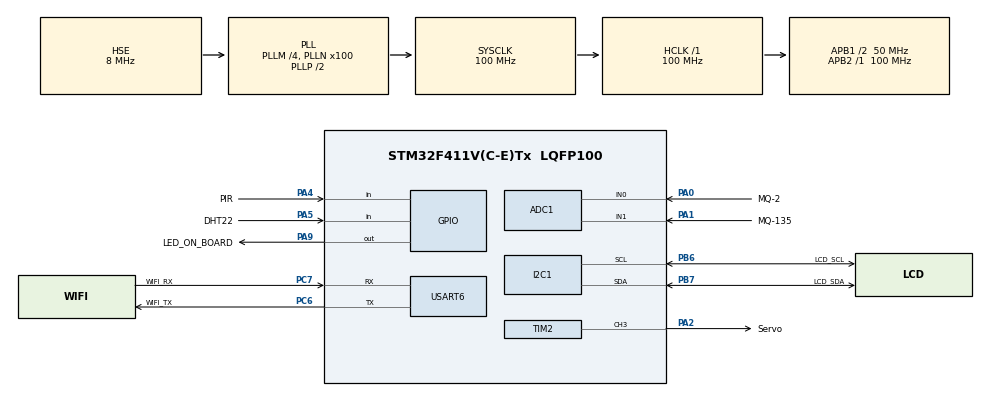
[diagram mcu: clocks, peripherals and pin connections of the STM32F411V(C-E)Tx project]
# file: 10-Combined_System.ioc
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ADC1.Channel-0\#ChannelRegularConversion=ADC_CHANNEL_0
ADC1.Channel-1\#ChannelRegularConversion=ADC_CHANNEL_1
ADC1.ContinuousConvMode=ENABLE
ADC1.DMAContinuousRequests=ENABLE
ADC1.NbrOfConversion=2
ADC1.NbrOfConversionFlag=1
ADC1.Rank-0\#ChannelRegularConversion=1
ADC1.Rank-1\#ChannelRegularConversion=2
ADC1.SamplingTime-0\#ChannelRegularConversion=ADC_SAMPLETIME_84CYCLES
ADC1.SamplingTime-1\#ChannelRegularConversion=ADC_SAMPLETIME_84CYCLES
ADC1.ScanConvMode=ENABLE
ADC1.master=1
Dma.ADC1.0.Direction=DMA_PERIPH_TO_MEMORY
Dma.ADC1.0.FIFOMode=DMA_FIFOMODE_DISABLE
Dma.ADC1.0.Instance=DMA2_Stream0
Dma.ADC1.0.MemDataAlignment=DMA_MDATAALIGN_HALFWORD
Dma.ADC1.0.MemInc=DMA_MINC_ENABLE
Dma.ADC1.0.Mode=DMA_CIRCULAR
Dma.ADC1.0.PeriphDataAlignment=DMA_PDATAALIGN_HALFWORD
Dma.ADC1.0.PeriphInc=DMA_PINC_DISABLE
Dma.ADC1.0.Priority=DMA_PRIORITY_LOW
Dma.Request0=ADC1
Mcu.Family=STM32F4
Mcu.Name=STM32F411V(C-E)Tx
Mcu.Package=LQFP100
NVIC.DMA2_Stream0_IRQn=true\:0\:0\:false\:false\:true\:false\:true\:true
NVIC.PriorityGroup=NVIC_PRIORITYGROUP_4
NVIC.TIM4_IRQn=true\:0\:0\:false\:false\:true\:true\:true\:true
NVIC.USART6_IRQn=true\:0\:0\:false\:false\:true\:true\:true\:true
PA0-WKUP.GPIO_Label=MQ-2
PA0-WKUP.Signal=ADCx_IN0
PA1.GPIO_Label=MQ-135
PA1.Signal=ADCx_IN1
PA13.Mode=Serial_Wire
PA13.Signal=SYS_JTMS-SWDIO
PA14.Mode=Serial_Wire
PA14.Signal=SYS_JTCK-SWCLK
PA2.GPIO_Label=Servo
PA2.Signal=S_TIM2_CH3
PA4.GPIO_Label=PIR
PA4.Signal=GPIO_Input
PA5.GPIO_Label=DHT22
PA5.Signal=GPIO_Input
PA9.GPIO_Label=LED_ON_BOARD
PA9.Signal=GPIO_Output
PB6.GPIO_Label=LCD_SCL
PB6.Mode=I2C
PB6.Signal=I2C1_SCL
PB7.GPIO_Label=LCD_SDA
PB7.Mode=I2C
PB7.Signal=I2C1_SDA
PC6.GPIO_Label=WIFI_TX
PC6.Mode=Asynchronous
PC6.Signal=USART6_TX
PC7.GPIO_Label=WIFI_RX
PC7.Mode=Asynchronous
PC7.Signal=USART6_RX
PH0\ -\ OSC_IN.Mode=HSE-External-Oscillator
PH0\ -\ OSC_IN.Signal=RCC_OSC_IN
PH1\ -\ OSC_OUT.Mode=HSE-External-Oscillator
PH1\ -\ OSC_OUT.Signal=RCC_OSC_OUT
ProjectManager.HeapSize=0x200
ProjectManager.StackSize=0x400
ProjectManager.TargetToolchain=STM32CubeIDE
RCC.48MHZClocksFreq_Value=50000000
RCC.AHBFreq_Value=100000000
RCC.APB1CLKDivider=RCC_HCLK_DIV2
RCC.APB1Freq_Value=50000000
RCC.APB1TimFreq_Value=100000000
RCC.APB2Freq_Value=100000000
RCC.APB2TimFreq_Value=100000000
RCC.CortexFreq_Value=100000000
RCC.HCLKFreq_Value=100000000
RCC.HSE_VALUE=8000000
RCC.HSI_VALUE=16000000
RCC.LSE_VALUE=32768
RCC.PLLM=4
RCC.PLLN=100
RCC.PLLSourceVirtual=RCC_PLLSOURCE_HSE
RCC.SYSCLKFreq_VALUE=100000000
RCC.SYSCLKSource=RCC_SYSCLKSOURCE_PLLCLK
RCC.VCOOutputFreq_Value=200000000
SH.ADCx_IN0.0=ADC1_IN0,IN0
SH.ADCx_IN1.0=ADC1_IN1,IN1
SH.S_TIM2_CH3.0=TIM2_CH3,PWM Generation3 CH3
TIM2.AutoReloadPreload=TIM_AUTORELOAD_PRELOAD_ENABLE
TIM2.Channel-PWM\ Generation3\ CH3=TIM_CHANNEL_3
TIM2.Period=19999
TIM2.Prescaler=99
TIM4.Period=999
TIM4.Prescaler=99
USART6.VirtualMode=VM_ASYNC
VP_TIM4_VS_ClockSourceINT.Mode=Internal
board=custom

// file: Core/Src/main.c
/* USER CODE BEGIN Header */
/**
  ******************************************************************************
  * @file           : main.c
  * @brief          : Main program body
  ******************************************************************************
  * @attention
  *
  * Copyright (c) 2025 STMicroelectronics.
  * All rights reserved.
  *
  * This software is licensed under terms that can be found in the LICENSE file
  * in the root directory of this software component.
  * If no LICENSE file comes with this software, it is provided AS-IS.
  *
  ******************************************************************************
  */
/* USER CODE END Header */
#include "main.h"

/* USER CODE BEGIN Includes */
#include "i2c_lcd.h"
#include "dhtxx.h"
#include "dwt.h"
#include <stdio.h>
#include <string.h>
/* USER CODE END Includes */

/* USER CODE BEGIN PD */
#define WIFI_SSID       "Herukyatto"
#define WIFI_PASSWORD   "1234567890"
#define LOCAL_API_IP    "192.168.137.1"
#define LOCAL_API_PORT  5000
/* USER CODE END PD */

ADC_HandleTypeDef hadc1;
DMA_HandleTypeDef hdma_adc1;

I2C_HandleTypeDef hi2c1;

TIM_HandleTypeDef htim2;
TIM_HandleTypeDef htim4;

UART_HandleTypeDef huart6;

/* USER CODE BEGIN PV */
I2C_LCD_HandleTypeDef lcd;
DHTxx_Drv_t dht22;
float temperature, humidity;
uint8_t uart_rx_byte;
char response_buffer[256];
uint8_t response_index = 0;
volatile uint8_t data_received_flag = 0;
volatile uint32_t ms_ticks = 0;
/* USER CODE END PV */

void SystemClock_Config(void);
static void MX_GPIO_Init(void);
static void MX_DMA_Init(void);
static void MX_ADC1_Init(void);
static void MX_I2C1_Init(void);
static void MX_TIM2_Init(void);
static void MX_TIM4_Init(void);
static void MX_USART6_UART_Init(void);

/* USER CODE BEGIN 0 */
void LCD_Init_Custom()
{
  lcd.hi2c = &hi2c1;
  lcd.address = 0x4E;
  lcd_init(&lcd);
}

int send_at_command(const char* command, const char* expected_response, uint32_t timeout)
{
    memset(response_buffer, 0, sizeof(response_buffer));
    response_index = 0;
    HAL_UART_Transmit(&huart6, (uint8_t*)command, strlen(command), 1000);

    uint32_t start_time = HAL_GetTick();
    while (HAL_GetTick() - start_time < timeout)
    {
        if (strstr(response_buffer, expected_response) != NULL)
        {
            return 1;
        }
    }
    return 0;
}
/* USER CODE END 0 */

int main(void)
{

  /* MCU Configuration--------------------------------------------------------*/

  /* Reset of all peripherals, Initializes the Flash interface and the Systick. */
  HAL_Init();

  /* Configure the system clock */
  SystemClock_Config();

  /* Initialize all configured peripherals */
  MX_GPIO_Init();
  MX_DMA_Init();
  MX_ADC1_Init();
  MX_I2C1_Init();
  MX_TIM2_Init();
  MX_TIM4_Init();
  MX_USART6_UART_Init();
  /* USER CODE BEGIN 2 */
  // Khởi tạo module
    LCD_Init_Custom();
    DwtInit();
    dht22.DataPort = DHT22_GPIO_Port;
    dht22.DataPin = DHT22_Pin;
    dht22.Type = DHT22;
    HAL_UART_Receive_IT(&huart6, &uart_rx_byte, 1);

    // --- KẾT NỐI WI-FI ---
    lcd_puts(&lcd, "Connecting WiFi...");
    send_at_command("AT+RST\r\n", "ready", 5000);
    HAL_Delay(2000);
    send_at_command("ATE0\r\n", "OK", 1000);
    HAL_Delay(500);
    send_at_command("AT+WMODE=1,1\r\n", "OK", 3000);
    HAL_Delay(500);

    char connect_command[100];
    sprintf(connect_command, "AT+WJAP=\"%s\",\"%s\"\r\n", WIFI_SSID, WIFI_PASSWORD);

    if (!send_at_command(connect_command, "+EVENT:WIFI_GOT_IP", 15000))
    {
      lcd_clear(&lcd);
      lcd_puts(&lcd, "WiFi Failed!");
      while(1);
    }

    lcd_clear(&lcd);
    lcd_puts(&lcd, "WiFi Connected!");
    HAL_Delay(2000);
  /* USER CODE END 2 */

  /* Infinite loop */
  /* USER CODE BEGIN WHILE */
    while (1)
      {
        // 1. Đọc cảm biến
        DHT_GetData(&dht22);
        temperature = dht22.Temperature;
        humidity = dht22.Humidity;

        // Hiển thị lên LCD
        lcd_clear(&lcd);
        char line1_str[20], line2_str[20];
        sprintf(line1_str, "Temp: %.1f C", temperature);
        sprintf(line2_str, "Humi: %.1f %%", humidity);
        lcd_puts(&lcd, line1_str);
        lcd_gotoxy(&lcd, 0, 1);
        lcd_puts(&lcd, line2_str);

        // 2. Chuẩn bị và gửi API
        char json_payload[100];
        // Tạo chuỗi JSON, ký tự \ dùng để escape dấu " trong chuỗi C
        sprintf(json_payload, "{\\\"temperature\\\":%.1f,\\\"humidity\\\":%.1f}", temperature, humidity);

        char http_command[300]; // Tăng kích thước buffer một chút
        // Thêm cặp dấu ngoặc kép "" bao quanh tham số data cuối cùng
        sprintf(http_command, "AT+HTTPCLIENTLINE=1,3,\"application/json\",\"%s\",%d,\"/api/data\",\"%s\"\r\n",
                LOCAL_API_IP, LOCAL_API_PORT, json_payload);

        // 3. Gửi dữ liệu và hiển thị trạng thái
        lcd_gotoxy(&lcd, 12, 1);
        lcd_puts(&lcd, "->");
        if(send_at_command(http_command, "OK", 10000)) {
            lcd_puts(&lcd, "OK");
        } else {
            lcd_puts(&lcd, "FAIL");
        }

        HAL_Delay(10000);
      }  /* USER CODE END 3 */
}

void SystemClock_Config(void)
{
  RCC_OscInitTypeDef RCC_OscInitStruct = {0};
  RCC_ClkInitTypeDef RCC_ClkInitStruct = {0};

  /** Configure the main internal regulator output voltage
  */
  __HAL_RCC_PWR_CLK_ENABLE();
  __HAL_PWR_VOLTAGESCALING_CONFIG(PWR_REGULATOR_VOLTAGE_SCALE1);

  /** Initializes the RCC Oscillators according to the specified parameters
  * in the RCC_OscInitTypeDef structure.
  */
  RCC_OscInitStruct.OscillatorType = RCC_OSCILLATORTYPE_HSE;
  RCC_OscInitStruct.HSEState = RCC_HSE_ON;
  RCC_OscInitStruct.PLL.PLLState = RCC_PLL_ON;
  RCC_OscInitStruct.PLL.PLLSource = RCC_PLLSOURCE_HSE;
  RCC_OscInitStruct.PLL.PLLM = 4;
  RCC_OscInitStruct.PLL.PLLN = 100;
  RCC_OscInitStruct.PLL.PLLP = RCC_PLLP_DIV2;
  RCC_OscInitStruct.PLL.PLLQ = 4;
  if (HAL_RCC_OscConfig(&RCC_OscInitStruct) != HAL_OK)
  {
    Error_Handler();
  }

  /** Initializes the CPU, AHB and APB buses clocks
  */
  RCC_ClkInitStruct.ClockType = RCC_CLOCKTYPE_HCLK|RCC_CLOCKTYPE_SYSCLK
                              |RCC_CLOCKTYPE_PCLK1|RCC_CLOCKTYPE_PCLK2;
  RCC_ClkInitStruct.SYSCLKSource = RCC_SYSCLKSOURCE_PLLCLK;
  RCC_ClkInitStruct.AHBCLKDivider = RCC_SYSCLK_DIV1;
  RCC_ClkInitStruct.APB1CLKDivider = RCC_HCLK_DIV2;
  RCC_ClkInitStruct.APB2CLKDivider = RCC_HCLK_DIV1;

  if (HAL_RCC_ClockConfig(&RCC_ClkInitStruct, FLASH_LATENCY_3) != HAL_OK)
  {
    Error_Handler();
  }
}

static void MX_ADC1_Init(void)
{

  ADC_ChannelConfTypeDef sConfig = {0};

  /** Configure the global features of the ADC (Clock, Resolution, Data Alignment and number of conversion)
  */
  hadc1.Instance = ADC1;
  hadc1.Init.ClockPrescaler = ADC_CLOCK_SYNC_PCLK_DIV4;
  hadc1.Init.Resolution = ADC_RESOLUTION_12B;
  hadc1.Init.ScanConvMode = ENABLE;
  hadc1.Init.ContinuousConvMode = ENABLE;
  hadc1.Init.DiscontinuousConvMode = DISABLE;
  hadc1.Init.ExternalTrigConvEdge = ADC_EXTERNALTRIGCONVEDGE_NONE;
  hadc1.Init.ExternalTrigConv = ADC_SOFTWARE_START;
  hadc1.Init.DataAlign = ADC_DATAALIGN_RIGHT;
  hadc1.Init.NbrOfConversion = 2;
  hadc1.Init.DMAContinuousRequests = ENABLE;
  hadc1.Init.EOCSelection = ADC_EOC_SINGLE_CONV;
  if (HAL_ADC_Init(&hadc1) != HAL_OK)
  {
    Error_Handler();
  }

  /** Configure for the selected ADC regular channel its corresponding rank in the sequencer and its sample time.
  */
  sConfig.Channel = ADC_CHANNEL_0;
  sConfig.Rank = 1;
  sConfig.SamplingTime = ADC_SAMPLETIME_84CYCLES;
  if (HAL_ADC_ConfigChannel(&hadc1, &sConfig) != HAL_OK)
  {
    Error_Handler();
  }

  /** Configure for the selected ADC regular channel its corresponding rank in the sequencer and its sample time.
  */
  sConfig.Channel = ADC_CHANNEL_1;
  sConfig.Rank = 2;
  if (HAL_ADC_ConfigChannel(&hadc1, &sConfig) != HAL_OK)
  {
    Error_Handler();
  }

}

static void MX_I2C1_Init(void)
{

  hi2c1.Instance = I2C1;
  hi2c1.Init.ClockSpeed = 100000;
  hi2c1.Init.DutyCycle = I2C_DUTYCYCLE_2;
  hi2c1.Init.OwnAddress1 = 0;
  hi2c1.Init.AddressingMode = I2C_ADDRESSINGMODE_7BIT;
  hi2c1.Init.DualAddressMode = I2C_DUALADDRESS_DISABLE;
  hi2c1.Init.OwnAddress2 = 0;
  hi2c1.Init.GeneralCallMode = I2C_GENERALCALL_DISABLE;
  hi2c1.Init.NoStretchMode = I2C_NOSTRETCH_DISABLE;
  if (HAL_I2C_Init(&hi2c1) != HAL_OK)
  {
    Error_Handler();
  }

}

static void MX_TIM2_Init(void)
{

  TIM_MasterConfigTypeDef sMasterConfig = {0};
  TIM_OC_InitTypeDef sConfigOC = {0};

  htim2.Instance = TIM2;
  htim2.Init.Prescaler = 99;
  htim2.Init.CounterMode = TIM_COUNTERMODE_UP;
  htim2.Init.Period = 19999;
  htim2.Init.ClockDivision = TIM_CLOCKDIVISION_DIV1;
  htim2.Init.AutoReloadPreload = TIM_AUTORELOAD_PRELOAD_ENABLE;
  if (HAL_TIM_PWM_Init(&htim2) != HAL_OK)
  {
    Error_Handler();
  }
  sMasterConfig.MasterOutputTrigger = TIM_TRGO_RESET;
  sMasterConfig.MasterSlaveMode = TIM_MASTERSLAVEMODE_DISABLE;
  if (HAL_TIMEx_MasterConfigSynchronization(&htim2, &sMasterConfig) != HAL_OK)
  {
    Error_Handler();
  }
  sConfigOC.OCMode = TIM_OCMODE_PWM1;
  sConfigOC.Pulse = 0;
  sConfigOC.OCPolarity = TIM_OCPOLARITY_HIGH;
  sConfigOC.OCFastMode = TIM_OCFAST_DISABLE;
  if (HAL_TIM_PWM_ConfigChannel(&htim2, &sConfigOC, TIM_CHANNEL_3) != HAL_OK)
  {
    Error_Handler();
  }
  HAL_TIM_MspPostInit(&htim2);

}

static void MX_TIM4_Init(void)
{

  TIM_ClockConfigTypeDef sClockSourceConfig = {0};
  TIM_MasterConfigTypeDef sMasterConfig = {0};

  htim4.Instance = TIM4;
  htim4.Init.Prescaler = 99;
  htim4.Init.CounterMode = TIM_COUNTERMODE_UP;
  htim4.Init.Period = 999;
  htim4.Init.ClockDivision = TIM_CLOCKDIVISION_DIV1;
  htim4.Init.AutoReloadPreload = TIM_AUTORELOAD_PRELOAD_DISABLE;
  if (HAL_TIM_Base_Init(&htim4) != HAL_OK)
  {
    Error_Handler();
  }
  sClockSourceConfig.ClockSource = TIM_CLOCKSOURCE_INTERNAL;
  if (HAL_TIM_ConfigClockSource(&htim4, &sClockSourceConfig) != HAL_OK)
  {
    Error_Handler();
  }
  sMasterConfig.MasterOutputTrigger = TIM_TRGO_RESET;
  sMasterConfig.MasterSlaveMode = TIM_MASTERSLAVEMODE_DISABLE;
  if (HAL_TIMEx_MasterConfigSynchronization(&htim4, &sMasterConfig) != HAL_OK)
  {
    Error_Handler();
  }

}

static void MX_USART6_UART_Init(void)
{

  huart6.Instance = USART6;
  huart6.Init.BaudRate = 115200;
  huart6.Init.WordLength = UART_WORDLENGTH_8B;
  huart6.Init.StopBits = UART_STOPBITS_1;
  huart6.Init.Parity = UART_PARITY_NONE;
  huart6.Init.Mode = UART_MODE_TX_RX;
  huart6.Init.HwFlowCtl = UART_HWCONTROL_NONE;
  huart6.Init.OverSampling = UART_OVERSAMPLING_16;
  if (HAL_UART_Init(&huart6) != HAL_OK)
  {
    Error_Handler();
  }

}

static void MX_DMA_Init(void)
{

  /* DMA controller clock enable */
  __HAL_RCC_DMA2_CLK_ENABLE();

  /* DMA interrupt init */
  /* DMA2_Stream0_IRQn interrupt configuration */
  HAL_NVIC_SetPriority(DMA2_Stream0_IRQn, 0, 0);
  HAL_NVIC_EnableIRQ(DMA2_Stream0_IRQn);

}

static void MX_GPIO_Init(void)
{
  GPIO_InitTypeDef GPIO_InitStruct = {0};

  /* GPIO Ports Clock Enable */
  __HAL_RCC_GPIOH_CLK_ENABLE();
  __HAL_RCC_GPIOA_CLK_ENABLE();
  __HAL_RCC_GPIOC_CLK_ENABLE();
  __HAL_RCC_GPIOB_CLK_ENABLE();

  /*Configure GPIO pin Output Level */
  HAL_GPIO_WritePin(LED_ON_BOARD_GPIO_Port, LED_ON_BOARD_Pin, GPIO_PIN_RESET);

  /*Configure GPIO pins : PIR_Pin DHT22_Pin */
  GPIO_InitStruct.Pin = PIR_Pin|DHT22_Pin;
  GPIO_InitStruct.Mode = GPIO_MODE_INPUT;
  GPIO_InitStruct.Pull = GPIO_NOPULL;
  HAL_GPIO_Init(GPIOA, &GPIO_InitStruct);

  /*Configure GPIO pin : LED_ON_BOARD_Pin */
  GPIO_InitStruct.Pin = LED_ON_BOARD_Pin;
  GPIO_InitStruct.Mode = GPIO_MODE_OUTPUT_PP;
  GPIO_InitStruct.Pull = GPIO_NOPULL;
  GPIO_InitStruct.Speed = GPIO_SPEED_FREQ_LOW;
  HAL_GPIO_Init(LED_ON_BOARD_GPIO_Port, &GPIO_InitStruct);

}

/* USER CODE BEGIN 4 */
void HAL_UART_RxCpltCallback(UART_HandleTypeDef *huart)
{
  if (huart->Instance == USART6)
  {
    // Chỉ ghép ký tự vào bộ đệm, không đặt cờ báo nữa
    if (response_index < sizeof(response_buffer) - 1)
    {
      // Thay thế ký tự xuống dòng bằng dấu cách để dễ hiển thị trên 1 dòng
      if(uart_rx_byte == '\r' || uart_rx_byte == '\n')
      {
          if (response_index > 0) // Chỉ đặt cờ nếu đã có dữ liệu
          {
        	  data_received_flag = 1;
          }
      }
      else
      {
          response_buffer[response_index++] = uart_rx_byte;
      }
    } else {
    	// Tràn bộ đệm, reset lại
    	response_index = 0;
    }

    // Luôn lắng nghe byte tiếp theo
    HAL_UART_Receive_IT(&huart6, &uart_rx_byte, 1);
  }
}
/* USER CODE END 4 */

void Error_Handler(void)
{
  __disable_irq();
  while (1)
  {
  }
}
